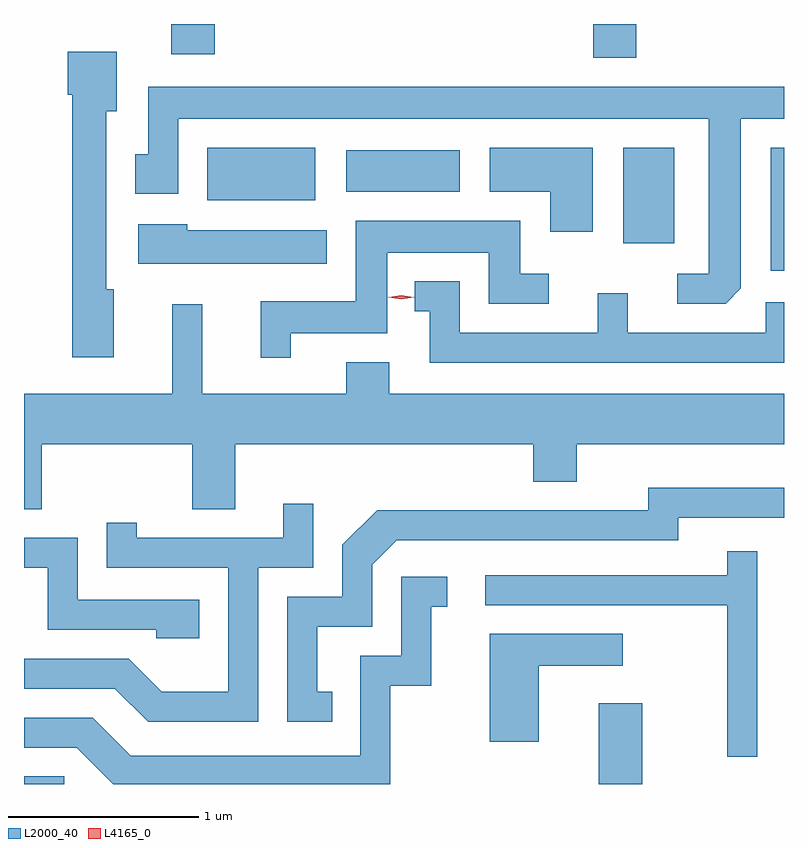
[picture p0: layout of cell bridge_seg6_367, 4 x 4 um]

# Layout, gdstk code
import gdstk
lib = gdstk.Library(unit=1e-6, precision=1e-09)
def R(c, l, rs):  # rectangles x0, y0, x1, y1
    for r in rs: c.add(gdstk.rectangle(r[:2], r[2:], *l))
def P(c, l, *ps):  # polygons
    for p in ps: c.add(gdstk.Polygon(p, *l))
L2000_40 = (2000, 40)
L4165_0 = (4165, 0)

bridge_seg6_367 = lib.new_cell('bridge_seg6_367')
R(bridge_seg6_367, L2000_40, [(943.566,1654.809,943.779,1654.849), (946.591,1654.809,946.819,1655.234), (947.496,1657.511,947.566,1658.159), (946.721,1657.656,946.989,1658.159), (944.531,1657.881,945.099,1658.159), (945.261,1657.926,945.859,1658.144), (946.561,1658.631,946.789,1658.809), (944.341,1658.651,944.569,1658.809)])
P(bridge_seg6_367, L2000_40, [(944.039,1657.414),(943.999,1657.414),(943.999,1658.351),(944.054,1658.351),(944.054,1658.664),(943.796,1658.664),(943.796,1658.436),(943.821,1658.436),(943.821,1657.056),(944.039,1657.056)],
  [(947.339,1657.417),(947.339,1658.311),(947.566,1658.311),(947.566,1658.479),(944.221,1658.479),(944.221,1658.124),(944.151,1658.124),(944.151,1657.916),(944.379,1657.916),(944.379,1658.311),(947.171,1658.311),(947.171,1657.494),(947.003,1657.494),(947.003,1657.336),(947.259,1657.336)],
  [(946.559,1658.159),(946.016,1658.159),(946.016,1657.926),(946.336,1657.926),(946.336,1657.716),(946.559,1657.716)],
  [(944.969,1657.181),(945.479,1657.181),(945.479,1657.606),(946.011,1657.606),(946.011,1657.336),(946.328,1657.336),(946.328,1657.494),(946.179,1657.494),(946.179,1657.774),(945.311,1657.774),(945.311,1657.349),(944.811,1657.349),(944.811,1657.053),(944.969,1657.053)],
  [(945.159,1657.724),(944.424,1657.724),(944.424,1657.754),(944.166,1657.754),(944.166,1657.546),(945.159,1657.546)],
  [(947.566,1657.344),(947.471,1657.344),(947.471,1657.184),(946.744,1657.184),(946.744,1657.393),(946.586,1657.393),(946.586,1657.184),(945.859,1657.184),(945.859,1657.454),(945.623,1657.454),(945.623,1657.296),(945.701,1657.296),(945.701,1657.026),(947.566,1657.026)],
  [(945.261,1657.029),(945.261,1656.864),(944.504,1656.864),(944.504,1657.333),(944.346,1657.333),(944.346,1656.864),(943.566,1656.864),(943.566,1656.256),(943.659,1656.256),(943.659,1656.596),(944.451,1656.596),(944.451,1656.256),(944.679,1656.256),(944.679,1656.596),(946.246,1656.596),(946.246,1656.401),(946.474,1656.401),(946.474,1656.596),(947.566,1656.596),(947.566,1656.864),(945.489,1656.864),(945.489,1657.029)],
  [(945.188,1655.294),(945.109,1655.294),(945.109,1655.636),(945.399,1655.636),(945.399,1655.964),(945.527,1656.091),(947.009,1656.091),(947.009,1656.211),(947.566,1656.211),(947.566,1656.369),(946.851,1656.369),(946.851,1656.249),(945.424,1656.249),(945.241,1656.067),(945.241,1655.794),(944.951,1655.794),(944.951,1655.136),(945.188,1655.136)],
  [(944.799,1655.946),(945.089,1655.946),(945.089,1656.283),(944.931,1656.283),(944.931,1656.104),(944.159,1656.104),(944.159,1656.183),(944.001,1656.183),(944.001,1655.946),(944.641,1655.946),(944.641,1655.294),(944.292,1655.294),(944.117,1655.469),(943.566,1655.469),(943.566,1655.311),(944.044,1655.311),(944.219,1655.136),(944.799,1655.136)],
  [(944.489,1655.779),(943.849,1655.779),(943.849,1656.104),(943.566,1656.104),(943.566,1655.946),(943.691,1655.946),(943.691,1655.621),(944.261,1655.621),(944.261,1655.576),(944.489,1655.576)],
  [(947.424,1656.033),(947.266,1656.033),(947.266,1655.909),(945.993,1655.909),(945.993,1655.751),(947.266,1655.751),(947.266,1654.953),(947.424,1654.953)],
  [(945.494,1655.326),(945.709,1655.326),(945.709,1655.741),(945.793,1655.741),(945.793,1655.899),(945.551,1655.899),(945.551,1655.484),(945.336,1655.484),(945.336,1654.959),(944.127,1654.959),(943.927,1655.159),(943.566,1655.159),(943.566,1655.001),(943.844,1655.001),(944.036,1654.809),(945.494,1654.809)],
  [(946.274,1655.431),(946.718,1655.431),(946.718,1655.599),(946.016,1655.599),(946.016,1655.031),(946.274,1655.031)])
P(bridge_seg6_367, L4165_0, [(945.551,1657.361),(945.482,1657.371),(945.482,1657.371),(945.482,1657.372),(945.551,1657.381),(945.621,1657.372),(945.621,1657.371),(945.621,1657.371)])

lib.write_gds('bridge_seg6_367.gds')
